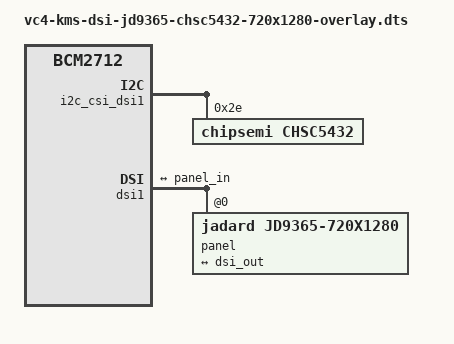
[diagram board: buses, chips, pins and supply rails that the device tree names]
/dts-v1/;
/plugin/;

/ {
	compatible = "raspberrypi,5-model-b", "brcm,bcm2712";

	fragment@0 {
		target = <&i2c_csi_dsi1>;
		__overlay__ {
			#address-cells = <1>;
			#size-cells = <0>;
			status = "okay";

			chsc5432: touchscreen@2e {
				compatible = "chipsemi,chsc5432";
				reg = <0x2e>;
				status = "okay";

				touchscreen-size-x = <720>;
				touchscreen-size-y = <1280>;

				/* 可选：有接线时再打开
				interrupt-parent = <&gpio>;
				interrupts = <17 IRQ_TYPE_EDGE_FALLING>;
				reset-gpios = <&gpio 27 GPIO_ACTIVE_LOW>;
				*/
			};
		};
	};

	fragment@1 {
		target = <&dsi1>;
		__overlay__ {
			status = "okay";
			#address-cells = <1>;
			#size-cells = <0>;

			port {
				dsi_out: endpoint {
					remote-endpoint = <&panel_in>;
				};
			};

			panel@0 {
				compatible = "jadard,jd9365-720x1280";
				reg = <0>;
				status = "okay";

				/* 如果有 Reset 引脚，取消注释并改写实际 GPIO */
				/* reset-gpios = <&gpio 17 1>; */

				port {
					panel_in: endpoint {
						remote-endpoint = <&dsi_out>;
					};
				};
			};
		};
	};
};
